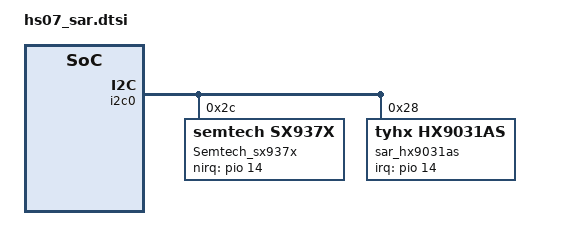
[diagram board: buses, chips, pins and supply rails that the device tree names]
/* Copyright (c) 2016, The Linux Foundation. All rights reserved.
 *
 * This program is free software; you can redistribute it and/or modify
 * it under the terms of the GNU General Public License version 2 and
 * only version 2 as published by the Free Software Foundation.
 *
 * This program is distributed in the hope that it will be useful,
 * but WITHOUT ANY WARRANTY; without even the implied warranty of
 * MERCHANTABILITY or FITNESS FOR A PARTICULAR PURPOSE.  See the
 * GNU General Public License for more details.
 */
/*hs07 code for HS07-26 | HS07-359 by huofudong at 20250407 start*/
/*hs07 code for HS07-358 by liuyiying at 20250407 start*/
/*hs07 code for HS07-885 by liuyiying at 20250417 start*/
/*hs07 code for HS07-1221|HS07-4611 by liuyiying at 20250618 start*/
/*hs07 code for HS07-2625 | HS07-2808 | HS07-2807 by huofudong at 20250510 start*/
/*hs07 code for HS07-4273|HS07-4549 by lichang at 20250614 start*/
&i2c0{
    Semtech_sx937x@2c {
        compatible = "semtech,sx937x";
        reg = <0x2c>;
        status = "okay";
        Semtech,nirq-gpio = <&pio 14 0x00>;
        /*use PH3/4 as the reference sensor
        set it to 0xff if the ref-phases-x is not used*/
        semtech,main-phases = <0x07>;
        semtech,ref-phases = <0x18>;
        semtech,fw-num = <250618>;
        Semtech,reg-init = <
        0x8024 0x00001F00
        0x4004 0x00000070
        0x4008 0x00000008
        0x8020 0x00000067
        0x8028 0x00000876
        0x8034 0x00000876
        0x8040 0x00000B4D
        0x804C 0x00000B4D
        0x8058 0x00000876
        0x8064 0x0000085C
        0x8070 0x0000085C
        0x807C 0x0000085C
        0x8030 0x00FE5924
        0x803C 0x00FE4964
        0x8048 0x00FE492C
        0x8054 0x00FE4925
        0x8060 0x0002C924
        0x8098 0x00000032
        0x80B8 0x0000006E
        0x80D8 0x0000002B
        0x80F8 0x000000FF
        0x8118 0x00000008
        0x80A0 0x2C2C0002
        0x80C0 0x12120002
        0x80E0 0x1F1F00E1
        0x8188 0x88000003
        0x818C 0x88000004
        0x8090 0x54B45000
        0x80B0 0x00005000
        0x80D0 0x78885001
        0x80F0 0x00005000
        0x8110 0x00005000
        0x8088 0x00300000
        0x80A8 0x00300000
        0x80C8 0x00300000
        0x80E8 0x06000000
        0x8108 0x06300000
        0x8128 0x00000000
        0x8148 0x00000000
        0x8168 0x00000000
        0x808C 0x60200630
        0x80AC 0x60201600
        0x80CC 0x60201600
        0x80EC 0x60200030
        0x810C 0x60200030
        0x812C 0x20601800
        0x814C 0x20601800
        0x816C 0x20601800
        0x8024 0x00001F1F>;
    };
    sar_hx9031as@28 {
       compatible = "tyhx,hx9031as";
       reg = <0x28>;
       tyhx,irq-gpio = <&pio 14 0x00>;
       tyhx,channel-flag = <0x1F>;
       tyhx,fw-num = <250614>;
    };
};
/*hs07 code for HS07-4273|HS07-4549 by lichang at 20250614 end*/
/*hs07 code for HS07-2625 | HS07-2808 | HS07-2807 by huofudong at 20250510 end*/
/*hs07 code for HS07-1221 |HS07-4611 by liuyiying at 20250618 end*/
/*hs07 code for HS07-885 by liuyiying at 20250417 end*/
/*hs07 code for HS07-358 by liuyiying at 20250407 end*/
/*hs07 code for HS07-26 | HS07-359 by huofudong at 20250407 end*/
